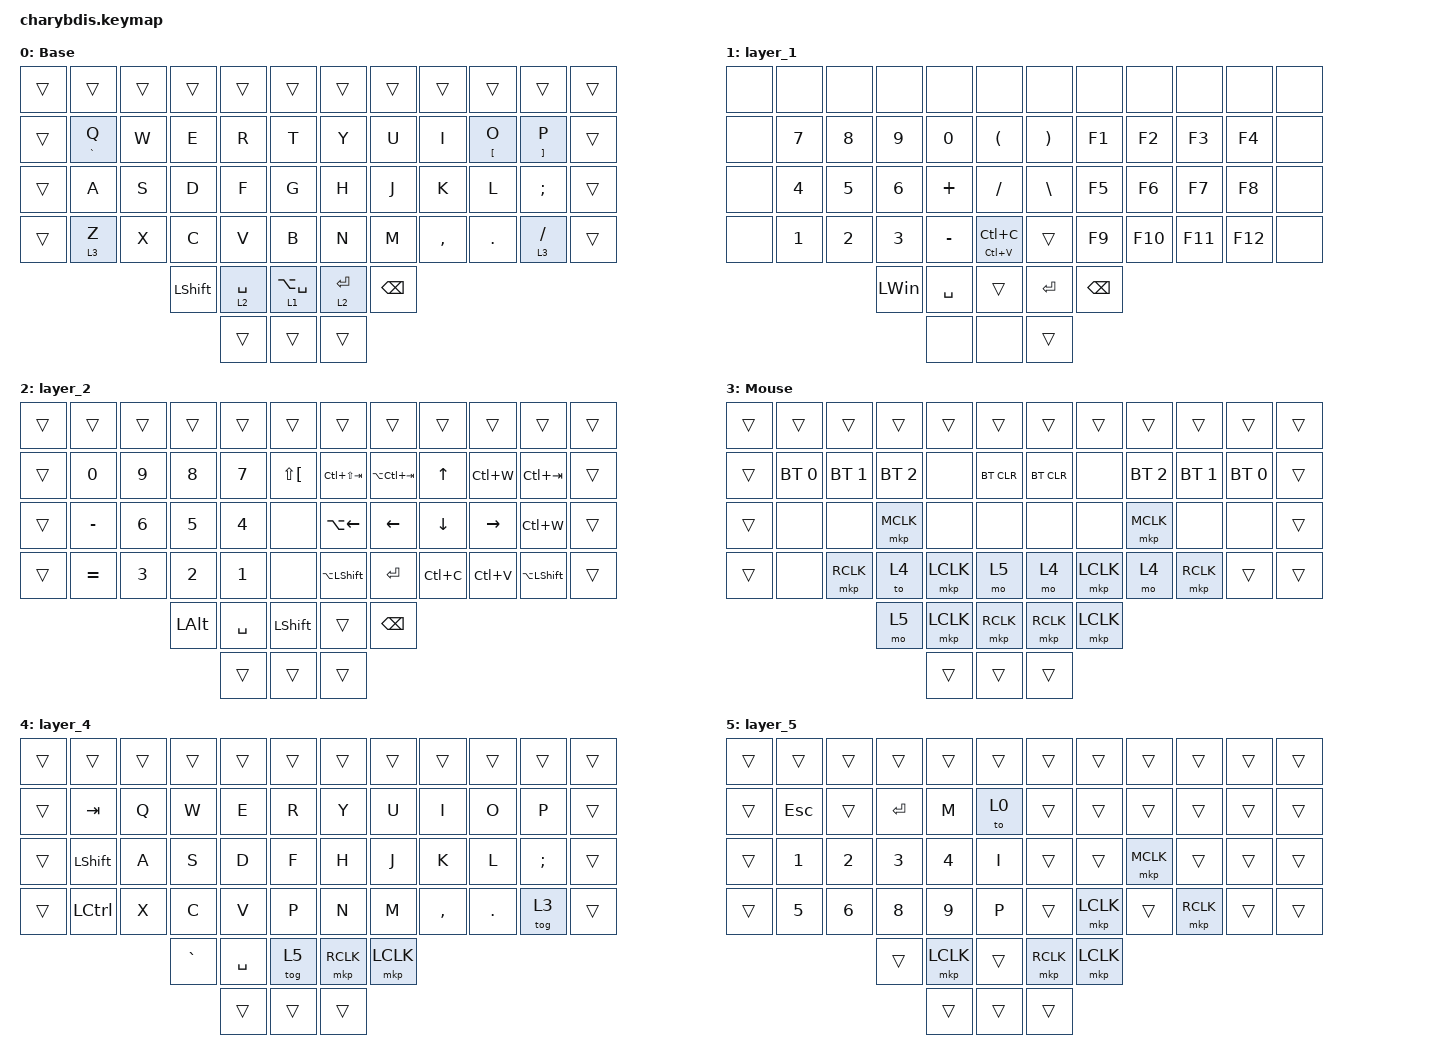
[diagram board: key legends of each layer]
#include <dt-bindings/zmk/mouse.h>
#include <behaviors.dtsi>
#include <dt-bindings/zmk/bt.h>
#include <dt-bindings/zmk/keys.h>

/ {
    behaviors {
        behavior_trackball_move_coarse: tmv_coarse {
            compatible = "zmk,behavior-trackball-move";
            move-speed = <600>;
        };

        tmv_coarse2: some_other_node {
            compatible = "zmk,behavior-trackball-scroll";
            scroll-speed = <20>;
        };
    };
};

&lt {
    tapping-term-ms = <200>;
    flavor = "balanced";
    quick-tap-ms = <150>;
};

/ {
    combos {
        compatible = "zmk,combos";

        escc {
            bindings = <&kp ESC>;
            key-positions = <17 18>;
            layers = <0>;
        };
    };

    keymap {
        compatible = "zmk,keymap";

        Base {
            bindings = <
&trans  &trans       &trans  &trans      &trans       &trans             &trans       &trans         &trans     &trans      &trans       &trans
&trans  &mt GRAVE Q  &kp W   &kp E       &kp R        &kp T              &kp Y        &kp U          &kp I      &mt LBKT O  &mt RBKT P   &trans
&trans  &kp A        &kp S   &kp D       &kp F        &kp G              &kp H        &kp J          &kp K      &kp L       &kp SEMI     &trans
&trans  &lt 3 Z      &kp X   &kp C       &kp V        &kp B              &kp N        &kp M          &kp COMMA  &kp DOT     &lt 3 SLASH  &trans
                             &kp LSHIFT  &lt 2 SPACE  &lt 1 LA(SPACE)    &lt 2 ENTER  &kp BACKSPACE
                                         &trans       &trans             &trans
            >;

            trackball-bindings = <&tmv_coarse>;
        };

        layer_1 {
            bindings = <
&none  &none   &none   &none         &none      &none                   &none                  &none          &none    &none    &none    &none
&none  &kp N7  &kp N8  &kp N9        &kp N0     &kp LEFT_PARENTHESIS    &kp RIGHT_PARENTHESIS  &kp F1         &kp F2   &kp F3   &kp F4   &none
&none  &kp N4  &kp N5  &kp N6        &kp PLUS   &kp SLASH               &kp BSLH               &kp F5         &kp F6   &kp F7   &kp F8   &none
&none  &kp N1  &kp N2  &kp N3        &kp MINUS  &mt LC(V) LC(C)         &trans                 &kp F9         &kp F10  &kp F11  &kp F12  &none
                       &kp LEFT_WIN  &kp SPACE  &trans                  &kp ENTER              &kp BACKSPACE
                                     &none      &none                   &trans
            >;
        };

        layer_2 {
            bindings = <
&trans  &trans     &trans  &trans        &trans     &trans          &trans              &trans           &trans     &trans     &trans              &trans
&trans  &kp N0     &kp N9  &kp N8        &kp N7     &kp LS(LBKT)    &kp LC(LS(TAB))     &kp LA(LC(TAB))  &kp UP     &kp LC(W)  &kp LC(TAB)         &trans
&trans  &kp MINUS  &kp N6  &kp N5        &kp N4     &none           &kp LA(LEFT)        &kp LEFT         &kp DOWN   &kp RIGHT  &kp LC(W)           &trans
&trans  &kp EQUAL  &kp N3  &kp N2        &kp N1     &none           &kp LA(LEFT_SHIFT)  &kp ENTER        &kp LC(C)  &kp LC(V)  &kp LA(LEFT_SHIFT)  &trans
                           &kp LEFT_ALT  &kp SPACE  &kp LSHFT       &trans              &kp BACKSPACE
                                         &trans     &trans          &trans
            >;
        };

        Mouse {
            bindings = <
&trans  &trans        &trans        &trans        &trans     &trans        &trans      &trans     &trans        &trans        &trans        &trans
&trans  &bt BT_SEL 0  &bt BT_SEL 1  &bt BT_SEL 2  &none      &bt BT_CLR    &bt BT_CLR  &none      &bt BT_SEL 2  &bt BT_SEL 1  &bt BT_SEL 0  &trans
&trans  &none         &none         &mkp MCLK     &none      &none         &none       &none      &mkp MCLK     &none         &none         &trans
&trans  &none         &mkp RCLK     &to 4         &mkp LCLK  &mo 5         &mo 4       &mkp LCLK  &mo 4         &mkp RCLK     &trans        &trans
                                    &mo 5         &mkp LCLK  &mkp RCLK     &mkp RCLK   &mkp LCLK
                                                  &trans     &trans        &trans
            >;
        };

        layer_4 {
            bindings = <
&trans  &trans          &trans  &trans     &trans     &trans    &trans     &trans     &trans     &trans      &trans         &trans
&trans  &kp TAB         &kp Q   &kp W      &kp E      &kp R     &kp Y      &kp U      &kp I      &kp O       &kp P          &trans
&trans  &kp LEFT_SHIFT  &kp A   &kp S      &kp D      &kp F     &kp H      &kp J      &kp K      &kp L       &kp SEMICOLON  &trans
&trans  &kp LCTRL       &kp X   &kp C      &kp V      &kp P     &kp N      &kp M      &kp COMMA  &kp PERIOD  &tog 3         &trans
                                &kp GRAVE  &kp SPACE  &tog 5    &mkp RCLK  &mkp LCLK
                                           &trans     &trans    &trans
            >;

            trackball-bindings = <&tsl>;//滚轮层
        };

        layer_5 {
            bindings = <
&trans  &trans   &trans  &trans     &trans     &trans    &trans     &trans     &trans     &trans     &trans  &trans
&trans  &kp ESC  &trans  &kp ENTER  &kp M      &to 0     &trans     &trans     &trans     &trans     &trans  &trans
&trans  &kp N1   &kp N2  &kp N3     &kp N4     &kp I     &trans     &trans     &mkp MCLK  &trans     &trans  &trans
&trans  &kp N5   &kp N6  &kp N8     &kp N9     &kp P     &trans     &mkp LCLK  &trans     &mkp RCLK  &trans  &trans
                         &trans     &mkp LCLK  &trans    &mkp RCLK  &mkp LCLK
                                    &trans     &trans    &trans
            >;

            trackball-bindings = <&tmv_fine>;//精准指针层
        };
    };
};
